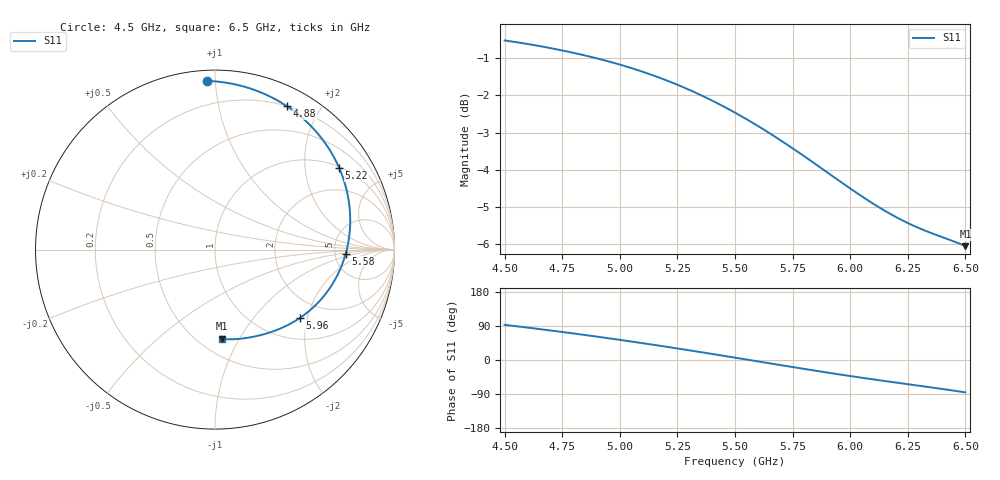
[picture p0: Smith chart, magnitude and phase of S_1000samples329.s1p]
! TOUCHSTONE file generated by CST MICROWAVE STUDIO
! Date and time: Thu Oct 27 19:21:50 2022
! Project name: L.cst
! Parameters = {Di=1.27; Epsilon_r=1.56; InnerDiameter=1.27; Length=2; Lf=10; Lg=60; OuterConductorThickness=0.2921; OuterDiameter=3.6; Wf=3; Wp=41.2; de=1.5; df=6.8; g=0.8; gx=1.12478; gy=4.41796; h=2.34; hf=1.524; px=9.51016; py=13.0856; w=9.7; wx=8.38538; wy=8.66764}
! Header version: 2018
! Port assignment regex: !\s*Touchstone port\s*([0-9]+)\s*=\s*(CST MWS port|CST DS port)\s*([0-9]+|Zmin|Zmax)\s*\(\"(.*)\"\)(\s*mode\s*([0-9]+))?.*
! Touchstone port assignment:
! Touchstone port 1 = CST MWS port 1 ("")
# GHz S DB R 50
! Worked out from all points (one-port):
!   101 points, 4.5 GHz to 6.5 GHz, reference 50 ohm
!   lowest |S11| = -6.0 dB at 6.5 GHz (marker M1), VSWR 2.99, Z = 32.1 - j42.5 ohm
!   |S11| at or under -10 dB: nowhere
!   S11 on the Smith chart (normalised r, x): 4.5 GHz: 0.06, +0.95; 4.88 GHz: 0.20, +1.60; 5.22 GHz: 1.04, +3.02; 5.58 GHz: 6.32, -0.59; 5.96 GHz: 1.50, -1.81; 6.5 GHz: 0.64, -0.85
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4.5  -0.53 92.8
4.58  -0.60 87.0
4.64  -0.67 82.4
4.7  -0.73 77.8
4.76  -0.81 73.1
4.82  -0.89 68.3
4.88  -0.98 63.4
4.94  -1.07 58.3
5  -1.17 53.2
5.06  -1.29 47.9
5.12  -1.41 42.5
5.22  -1.64 33.3
5.26  -1.74 29.5
5.32  -1.90 23.8
5.38  -2.08 18.0
5.44  -2.26 12.1
5.5  -2.46 6.2
5.58  -2.75 -1.7
5.66  -3.05 -9.7
5.76  -3.46 -19.6
5.86  -3.89 -29.3
5.96  -4.32 -38.7
6  -4.50 -42.3
6.06  -4.75 -47.7
6.12  -4.98 -52.9
6.26  -5.45 -64.7
6.4  -5.80 -76.5
6.5  -6.04 -85.5
